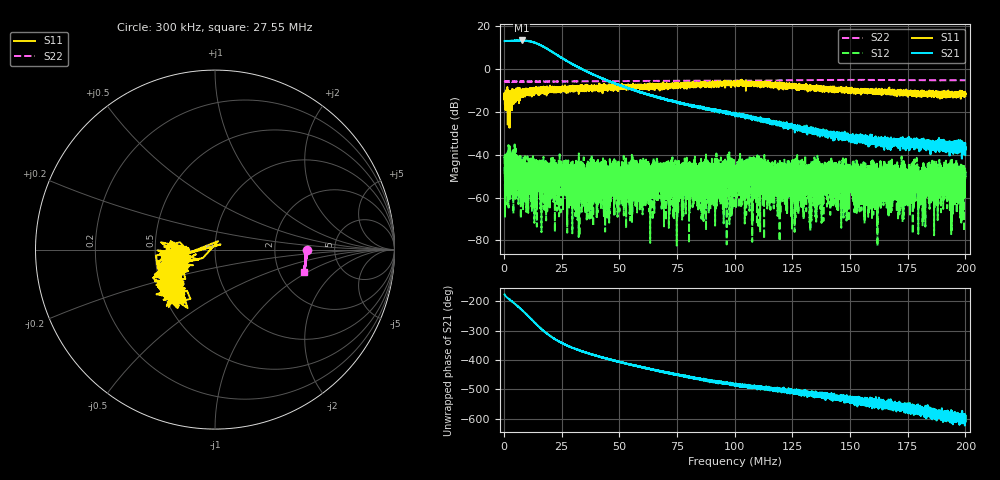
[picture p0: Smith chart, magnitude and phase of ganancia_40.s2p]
# Hz S DB R 50
! CMT, M5065, 19127446, 24.2.4/2
! Date: 11/8/2024 5:16:30 PM
! Data: Format (Calibration Info)
! Freq	S11:dB/Ang(F2)	S21:dB/Ang(F2)	S12:dB/Ang(F2)	S22:dB/Ang(F2)
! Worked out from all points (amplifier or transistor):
!   9000 points, 300 kHz to 200 MHz, reference 50 ohm
!   highest |S21| = 13.3 dB at 7.668 MHz (marker M1)
!   |S21| within 3 dB of that: start of sweep to 17.31 MHz
!   unconditionally stable (mu >= 1): start of sweep to end of sweep
!   at 33.59 MHz: K = 202.84, MAG = 2.0 dB, |S12| = -56.1 dB
!   at 100.2 MHz: K = 679.50, MAG = -18.7 dB, |S12| = -46.4 dB
!   at 200 MHz: K = 6661.74, MAG = -38.3 dB, |S12| = -46.0 dB
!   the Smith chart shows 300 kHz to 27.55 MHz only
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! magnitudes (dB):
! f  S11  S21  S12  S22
! 300 kHz  -12.9  13.1  -49.1  -5.8
! 3.962 MHz  -12.1  13.2  -42.9  -5.9
! 7.668 MHz  -10.3  13.3  -42.5  -5.9
! 15.23 MHz  -9.1  11.5  -50.3  -5.9
! 33.59 MHz  -9.1  0.1  -56.1  -5.8
! 43.04 MHz  -8.2  -4.5  -51.1  -5.7
! 44.79 MHz  -9.9  -5.4  -48.7  -5.7
! 46.77 MHz  -8.8  -6.2  -49.4  -5.7
! 54.85 MHz  -8.4  -9.3  -52.9  -5.6
! 66.87 MHz  -7.0  -13.1  -47.6  -5.5
! 100.2 MHz  -7.0  -21.2  -46.4  -5.4
! 133.4 MHz  -8.7  -28.7  -55.4  -5.2
! 141.6 MHz  -9.7  -29.9  -46.0  -5.1
! 147.1 MHz  -10.1  -31.5  -49.0  -5.1
! 150.6 MHz  -9.7  -32.9  -55.5  -5.1
! 161.8 MHz  -11.3  -33.6  -55.8  -5.1
! 166.7 MHz  -10.7  -35.6  -53.6  -5.1
! 178.3 MHz  -11.6  -37.1  -49.1  -5.2
! 180.5 MHz  -12.3  -37.0  -51.0  -5.2
! 195.9 MHz  -11.9  -36.4  -57.3  -5.3
! 198.6 MHz  -12.2  -37.3  -53.3  -5.3
! 200 MHz  -11.3  -40.2  -46.0  -5.3
